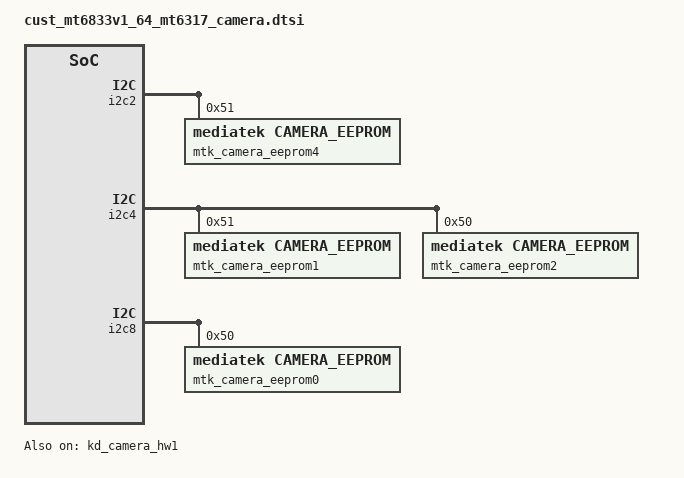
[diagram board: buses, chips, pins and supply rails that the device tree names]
/*
 * Copyright (c) 2019 MediaTek Inc.
 *
 * This program is free software; you can redistribute it and/or modify
 * it under the terms of the GNU General Public License version 2 as
 * published by the Free Software Foundation.
 *
 * This program is distributed in the hope that it will be useful,
 * but WITHOUT ANY WARRANTY; without even the implied warranty of
 * MERCHANTABILITY or FITNESS FOR A PARTICULAR PURPOSE.  See the
 * GNU General Public License for more details.
 */
/* CAMERA GPIO standardization */
&pio {
	camera_pins_cam0_rst_0: cam0@0 {
		pins_cmd_dat {
			pinmux = <PINMUX_GPIO58__FUNC_GPIO58>;
			slew-rate = <1>;
			output-low;
		};
	};
	camera_pins_cam0_rst_1: cam0@1 {
		pins_cmd_dat {
			pinmux = <PINMUX_GPIO58__FUNC_GPIO58>;
			slew-rate = <1>;
			output-high;
		};
	};

	camera_pins_cam1_rst_0: cam1@0 {
		pins_cmd_dat {
			pinmux = <PINMUX_GPIO54__FUNC_GPIO54>;
			slew-rate = <1>;
			output-low;
		};
	};
	camera_pins_cam1_rst_1: cam1@1 {
		pins_cmd_dat {
			pinmux = <PINMUX_GPIO54__FUNC_GPIO54>;
			slew-rate = <1>;
			output-high;
		};
	};

	camera_pins_cam2_rst_0: cam2@0 {
		pins_cmd_dat {
			pinmux = <PINMUX_GPIO56__FUNC_GPIO56>;
			slew-rate = <1>;
			output-low;
		};
	};
	camera_pins_cam2_rst_1: cam2@1 {
		pins_cmd_dat {
			pinmux = <PINMUX_GPIO56__FUNC_GPIO56>;
			slew-rate = <1>;
			output-high;
		};
	};

	camera_pins_cam4_rst_0: cam4@0 {
		pins_cmd_dat {
			pinmux = <PINMUX_GPIO60__FUNC_GPIO60>;
			slew-rate = <1>;
			output-low;
		};
	};
	camera_pins_cam4_rst_1: cam4@1 {
		pins_cmd_dat {
			pinmux = <PINMUX_GPIO60__FUNC_GPIO60>;
			slew-rate = <1>;
			output-high;
		};
	};

	camera_pins_cam0_mclk_off: camera_pins_cam0_mclk_off {
		pins_cmd_dat {
			pinmux = <PINMUX_GPIO51__FUNC_GPIO51>;
			drive-strength = <1>;
		};
	};
	camera_pins_cam0_mclk_2ma: camera_pins_cam0_mclk_2ma {
		pins_cmd_dat {
			pinmux = <PINMUX_GPIO51__FUNC_CMMCLK2>;
			drive-strength = <0>;
		};
	};
	camera_pins_cam0_mclk_4ma: camera_pins_cam0_mclk_4ma {
		pins_cmd_dat {
			pinmux = <PINMUX_GPIO51__FUNC_CMMCLK2>;
			drive-strength = <1>;
		};
	};
	camera_pins_cam0_mclk_6ma: camera_pins_cam0_mclk_6ma {
		pins_cmd_dat {
			pinmux = <PINMUX_GPIO51__FUNC_CMMCLK2>;
			drive-strength = <2>;
		};
	};
	camera_pins_cam0_mclk_8ma: camera_pins_cam0_mclk_8ma {
		pins_cmd_dat {
			pinmux = <PINMUX_GPIO51__FUNC_CMMCLK2>;
			drive-strength = <3>;
		};
	};
	camera_pins_cam1_mclk_off: camera_pins_cam1_mclk_off {
		pins_cmd_dat {
			pinmux = <PINMUX_GPIO49__FUNC_GPIO49>;
			drive-strength = <1>;
		};
	};
	camera_pins_cam1_mclk_2ma: camera_pins_cam1_mclk_2ma {
		pins_cmd_dat {
			pinmux = <PINMUX_GPIO49__FUNC_CMMCLK0>;
			drive-strength = <0>;
		};
	};
	camera_pins_cam1_mclk_4ma: camera_pins_cam1_mclk_4ma {
		pins_cmd_dat {
			pinmux = <PINMUX_GPIO49__FUNC_CMMCLK0>;
			drive-strength = <1>;
		};
	};
	camera_pins_cam1_mclk_6ma: camera_pins_cam1_mclk_6ma {
		pins_cmd_dat {
			pinmux = <PINMUX_GPIO49__FUNC_CMMCLK0>;
			drive-strength = <2>;
		};
	};
	camera_pins_cam1_mclk_8ma: camera_pins_cam1_mclk_8ma {
		pins_cmd_dat {
			pinmux = <PINMUX_GPIO49__FUNC_CMMCLK0>;
			drive-strength = <3>;
		};
	};
	camera_pins_cam2_mclk_off: camera_pins_cam2_mclk_off {
		pins_cmd_dat {
			pinmux = <PINMUX_GPIO50__FUNC_GPIO50>;
			drive-strength = <1>;
		};
	};
	camera_pins_cam2_mclk_2ma: camera_pins_cam2_mclk_2ma {
		pins_cmd_dat {
			pinmux = <PINMUX_GPIO50__FUNC_CMMCLK1>;
			drive-strength = <0>;
		};
	};
	camera_pins_cam2_mclk_4ma: camera_pins_cam2_mclk_4ma {
		pins_cmd_dat {
			pinmux = <PINMUX_GPIO50__FUNC_CMMCLK1>;
			drive-strength = <1>;
		};
	};
	camera_pins_cam2_mclk_6ma: camera_pins_cam2_mclk_6ma {
		pins_cmd_dat {
			pinmux = <PINMUX_GPIO50__FUNC_CMMCLK1>;
			drive-strength = <2>;
		};
	};
	camera_pins_cam2_mclk_8ma: camera_pins_cam2_mclk_8ma {
		pins_cmd_dat {
			pinmux = <PINMUX_GPIO50__FUNC_CMMCLK1>;
			drive-strength = <3>;
		};
	};
	camera_pins_cam4_mclk_off: camera_pins_cam4_mclk_off {
		pins_cmd_dat {
			pinmux = <PINMUX_GPIO52__FUNC_GPIO52>;
			drive-strength = <1>;
		};
	};
	camera_pins_cam4_mclk_2ma: camera_pins_cam4_mclk_2ma {
		pins_cmd_dat {
			pinmux = <PINMUX_GPIO52__FUNC_CMMCLK3>;
			drive-strength = <0>;
		};
	};
	camera_pins_cam4_mclk_4ma: camera_pins_cam4_mclk_4ma {
		pins_cmd_dat {
			pinmux = <PINMUX_GPIO52__FUNC_CMMCLK3>;
			drive-strength = <1>;
		};
	};
	camera_pins_cam4_mclk_6ma: camera_pins_cam4_mclk_6ma {
		pins_cmd_dat {
			pinmux = <PINMUX_GPIO52__FUNC_CMMCLK3>;
			drive-strength = <2>;
		};
	};
	camera_pins_cam4_mclk_8ma: camera_pins_cam4_mclk_8ma {
		pins_cmd_dat {
			pinmux = <PINMUX_GPIO52__FUNC_CMMCLK3>;
			drive-strength = <3>;
		};
	};
	camera_pins_cam_mipi_switch_en_1: mipi_en@1 {
		pins_cmd_dat {
			pinmux = <PINMUX_GPIO131__FUNC_GPIO131>;
			slew-rate = <1>;
			output-high;
		};
	};
	camera_pins_cam_mipi_switch_en_0: mipi_en@0 {
		pins_cmd_dat {
			pinmux = <PINMUX_GPIO131__FUNC_GPIO131>;
			slew-rate = <1>;
			output-low;
		};
	};
	camera_pins_cam_mipi_switch_sel_1: mipi_sel@1 {
		pins_cmd_dat {
			pinmux = <PINMUX_GPIO132__FUNC_GPIO132>;
			slew-rate = <1>;
			output-high;
		};
	};
	camera_pins_cam_mipi_switch_sel_0: mipi_sel@0 {
		pins_cmd_dat {
			pinmux = <PINMUX_GPIO132__FUNC_GPIO132>;
			slew-rate = <1>;
			output-low;
		};
	};
	camera_pins_default: camdefault {
	};
};
&kd_camera_hw1 {
	pinctrl-names = "default",
			"cam0_rst0", "cam0_rst1",
			"cam1_rst0", "cam1_rst1",
			"cam2_rst0", "cam2_rst1",
			"cam4_rst0", "cam4_rst1",
			"cam0_mclk_off",
			"cam0_mclk_2mA", "cam0_mclk_4mA",
			"cam0_mclk_6mA", "cam0_mclk_8mA",
			"cam1_mclk_off",
			"cam1_mclk_2mA", "cam1_mclk_4mA",
			"cam1_mclk_6mA", "cam1_mclk_8mA",
			"cam2_mclk_off",
			"cam2_mclk_2mA", "cam2_mclk_4mA",
			"cam2_mclk_6mA", "cam2_mclk_8mA",
			"cam4_mclk_off",
			"cam4_mclk_2mA", "cam4_mclk_4mA",
			"cam4_mclk_6mA", "cam4_mclk_8mA",
			"cam_mipi_switch_en_1", "cam_mipi_switch_en_0",
			"cam_mipi_switch_sel_1", "cam_mipi_switch_sel_0";
	pinctrl-0 = <&camera_pins_default>;
	pinctrl-1 = <&camera_pins_cam0_rst_0>;
	pinctrl-2 = <&camera_pins_cam0_rst_1>;
	pinctrl-3 = <&camera_pins_cam1_rst_0>;
	pinctrl-4 = <&camera_pins_cam1_rst_1>;
	pinctrl-5 = <&camera_pins_cam2_rst_0>;
	pinctrl-6 = <&camera_pins_cam2_rst_1>;
	pinctrl-7 = <&camera_pins_cam4_rst_0>;
	pinctrl-8 = <&camera_pins_cam4_rst_1>;
	pinctrl-9 = <&camera_pins_cam0_mclk_off>;
	pinctrl-10 = <&camera_pins_cam0_mclk_2ma>;
	pinctrl-11 = <&camera_pins_cam0_mclk_4ma>;
	pinctrl-12 = <&camera_pins_cam0_mclk_6ma>;
	pinctrl-13 = <&camera_pins_cam0_mclk_8ma>;
	pinctrl-14 = <&camera_pins_cam1_mclk_off>;
	pinctrl-15 = <&camera_pins_cam1_mclk_2ma>;
	pinctrl-16 = <&camera_pins_cam1_mclk_4ma>;
	pinctrl-17 = <&camera_pins_cam1_mclk_6ma>;
	pinctrl-18 = <&camera_pins_cam1_mclk_8ma>;
	pinctrl-19 = <&camera_pins_cam2_mclk_off>;
	pinctrl-20 = <&camera_pins_cam2_mclk_2ma>;
	pinctrl-21 = <&camera_pins_cam2_mclk_4ma>;
	pinctrl-22 = <&camera_pins_cam2_mclk_6ma>;
	pinctrl-23 = <&camera_pins_cam2_mclk_8ma>;
	pinctrl-24 = <&camera_pins_cam4_mclk_off>;
	pinctrl-25 = <&camera_pins_cam4_mclk_2ma>;
	pinctrl-26 = <&camera_pins_cam4_mclk_4ma>;
	pinctrl-27 = <&camera_pins_cam4_mclk_6ma>;
	pinctrl-28 = <&camera_pins_cam4_mclk_8ma>;
	pinctrl-29 = <&camera_pins_cam_mipi_switch_en_1>;
	pinctrl-30 = <&camera_pins_cam_mipi_switch_en_0>;
	pinctrl-31 = <&camera_pins_cam_mipi_switch_sel_1>;
	pinctrl-32 = <&camera_pins_cam_mipi_switch_sel_0>;



	/* main (wide) : ldo4 ldo8 --- AVDD_CAM_W, DVDD_CAM_W */
	cam0_vcama-supply = <&mt6317_ldo4>;
	cam0_vcama1-supply = <&mt6317_ldo5>;
	cam0_vcamd-supply = <&mt6317_ldo8>;
	cam0_vcamio-supply = <&mt6317_ldo1>;

	/* front */
	cam1_vcama-supply = <&mt6317_ldo6>;
	cam1_vcamd-supply = <&mt6317_ldo7>;
	cam1_vcamio-supply = <&mt6317_ldo1>;

	/* main2 (tele) */
	cam2_vcama-supply = <&mt6317_ldo6>;
	cam2_vcamd-supply = <&mt6317_ldo7>;
	cam2_vcamio-supply = <&mt6317_ldo1>;

	/* main3 (ultra wide) : gpio2 gpio3 --- AVDD_CAM_F_UW, DVDD_CAM_F_UW */
	cam4_vcama-supply = <&mt6317_gpio2>;
	cam4_vcamd-supply = <&mt6317_gpio3>;
	cam4_vcamio-supply = <&mt6317_ldo1>;


	status = "okay";


};
/* CAMERA GPIO end */

/* CAMERA EEPROM */
&i2c2 {
	mtk_camera_eeprom4:camera_eeprom4@51 {
		compatible = "mediatek,camera_eeprom";
		reg = <0x51>;
		status = "okay";
	};
};
&i2c4 {
	mtk_camera_eeprom1:camera_eeprom1@51 {
		compatible = "mediatek,camera_eeprom";
		reg = <0x51>;
		status = "okay";
	};
	mtk_camera_eeprom2:camera_eeprom2@50 {
		compatible = "mediatek,camera_eeprom";
		reg = <0x50>;
		status = "okay";
	};
};
&i2c8 {
	mtk_camera_eeprom0:camera_eeprom0@50 {
		compatible = "mediatek,camera_eeprom";
		reg = <0x50>;
		status = "okay";
	};
};
/* CAMERA EEPROM end */
